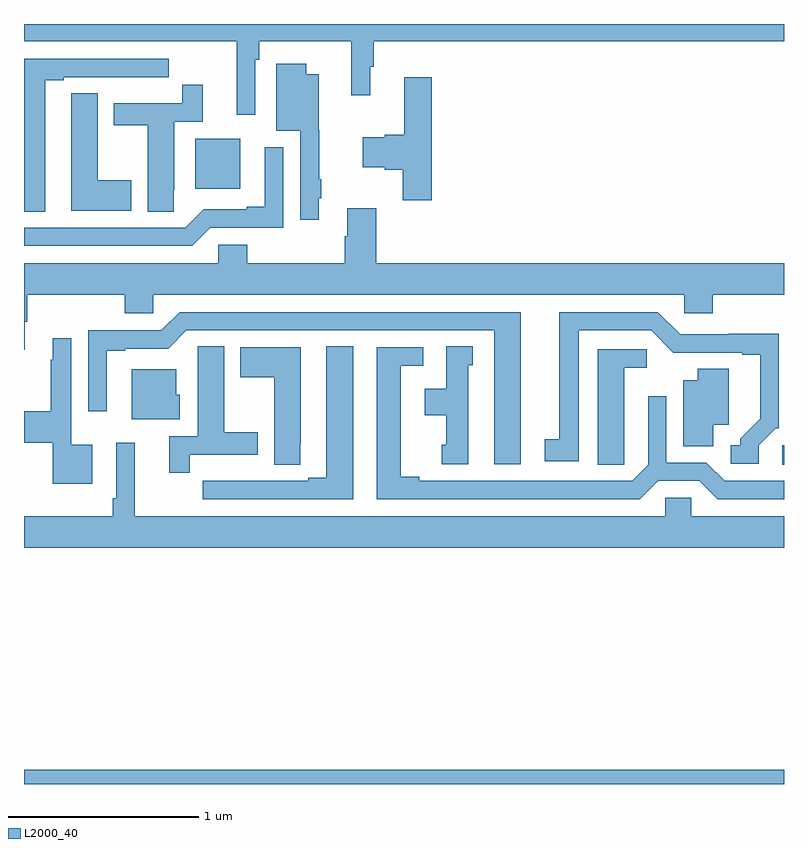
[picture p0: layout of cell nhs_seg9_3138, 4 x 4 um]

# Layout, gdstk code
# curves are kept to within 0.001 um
import gdstk
lib = gdstk.Library(unit=1e-6, precision=1e-09)
def R(c, l, rs):  # rectangles x0, y0, x1, y1
    for r in rs: c.add(gdstk.rectangle(r[:2], r[2:], *l))
def P(c, l, *ps):  # polygons
    for p in ps: c.add(gdstk.Polygon(p, *l))
L2000_40 = (2000, 40)

nhs_seg9_3138 = lib.new_cell('nhs_seg9_3138')
R(nhs_seg9_3138, L2000_40, [(291,1204.5,295,1204.576), (294.99,1206.181,295,1206.282), (291.902,1207.634,292.138,1207.897)])
P(nhs_seg9_3138, L2000_40, [(292.218,1208.312),(292.238,1208.312),(292.238,1208.408),(292.723,1208.408),(292.723,1208.124),(292.822,1208.124),(292.822,1208.274),(292.841,1208.274),(292.841,1208.408),(295,1208.408),(295,1208.5),(291,1208.5),(291,1208.408),(292.121,1208.408),(292.121,1208.022),(292.218,1208.022)],
  [(291.112,1208.205),(291.208,1208.205),(291.208,1208.22),(291.484,1208.22),(291.484,1208.219),(291.65,1208.219),(291.65,1208.22),(291.763,1208.22),(291.763,1208.316),(291,1208.316),(291,1207.513),(291.112,1207.513)],
  [(292.552,1207.582),(292.564,1207.582),(292.564,1207.682),(292.554,1207.682),(292.554,1207.941),(292.552,1207.941),(292.552,1208.236),(292.486,1208.236),(292.486,1208.29),(292.328,1208.29),(292.328,1207.937),(292.455,1207.937),(292.455,1207.47),(292.552,1207.47)],
  [(293.147,1208.221),(293,1208.221),(293,1207.916),(292.899,1207.916),(292.899,1207.903),(292.782,1207.903),(292.782,1207.745),(292.899,1207.745),(292.899,1207.733),(292.993,1207.733),(292.993,1207.572),(293.147,1207.572)],
  [(291.789,1207.624),(291.79,1207.624),(291.79,1207.986),(291.941,1207.986),(291.941,1208.179),(291.832,1208.179),(291.832,1208.082),(291.473,1208.082),(291.473,1207.966),(291.65,1207.966),(291.65,1207.513),(291.789,1207.513)],
  [(291.565,1207.677),(291.388,1207.677),(291.388,1208.135),(291.249,1208.135),(291.249,1208.027),(291.248,1208.027),(291.248,1207.517),(291.565,1207.517)],
  [(291.981,1207.428),(292.365,1207.428),(292.365,1207.852),(292.268,1207.852),(292.268,1207.537),(292.172,1207.537),(292.172,1207.524),(291.945,1207.524),(291.849,1207.428),(291,1207.428),(291,1207.332),(291.885,1207.332)],
  [(291,1206.786),(291.004,1206.786),(291.004,1206.934),(291.017,1206.934),(291.017,1207.076),(291.53,1207.076),(291.53,1206.978),(291.681,1206.978),(291.681,1207.076),(294.474,1207.076),(294.474,1206.978),(294.626,1206.978),(294.626,1207.076),(295,1207.076),(295,1207.24),(292.853,1207.24),(292.853,1207.531),(292.7,1207.531),(292.7,1207.382),(292.688,1207.382),(292.688,1207.24),(292.175,1207.24),(292.175,1207.338),(292.023,1207.338),(292.023,1207.24),(291,1207.24)],
  [(293.614,1206.984),(291.819,1206.984),(291.723,1206.888),(291.339,1206.888),(291.339,1206.462),(291.436,1206.462),(291.436,1206.78),(291.532,1206.78),(291.532,1206.792),(291.759,1206.792),(291.855,1206.888),(293.474,1206.888),(293.474,1206.183),(293.614,1206.183)],
  [(294.867,1206.282),(294.957,1206.372),(294.972,1206.372),(294.972,1206.869),(294.709,1206.869),(294.709,1206.867),(294.453,1206.867),(294.336,1206.984),(293.816,1206.984),(293.816,1206.314),(293.742,1206.314),(293.742,1206.198),(293.92,1206.198),(293.92,1206.888),(294.3,1206.888),(294.418,1206.77),(294.779,1206.771),(294.779,1206.759),(294.875,1206.759),(294.875,1206.422),(294.77,1206.317),(294.77,1206.282),(294.72,1206.282),(294.72,1206.186),(294.867,1206.186)],
  [(291.358,1206.286),(291.249,1206.286),(291.249,1206.847),(291.152,1206.847),(291.152,1206.734),(291.141,1206.734),(291.141,1206.462),(291,1206.462),(291,1206.296),(291.152,1206.296),(291.152,1206.08),(291.358,1206.08)],
  [(293.338,1206.705),(293.362,1206.705),(293.362,1206.803),(293.222,1206.803),(293.222,1206.58),(293.108,1206.58),(293.108,1206.44),(293.222,1206.44),(293.222,1206.285),(293.198,1206.285),(293.198,1206.183),(293.338,1206.183)],
  [(292.732,1206.803),(292.592,1206.803),(292.592,1206.111),(292.496,1206.111),(292.496,1206.096),(292.22,1206.096),(292.22,1206.097),(292.054,1206.097),(292.054,1206.096),(291.942,1206.096),(291.942,1206),(292.732,1206)],
  [(291.872,1206.234),(292.231,1206.234),(292.231,1206.351),(292.054,1206.351),(292.054,1206.803),(291.915,1206.803),(291.915,1206.692),(291.914,1206.692),(291.914,1206.33),(291.764,1206.33),(291.764,1206.138),(291.872,1206.138)],
  [(292.455,1206.289),(292.456,1206.289),(292.456,1206.799),(292.139,1206.799),(292.139,1206.64),(292.316,1206.64),(292.316,1206.181),(292.455,1206.181)],
  [(294.337,1206.096),(294.555,1206.096),(294.651,1206),(295,1206),(295,1206.096),(294.687,1206.096),(294.591,1206.192),(294.381,1206.192),(294.381,1206.541),(294.285,1206.541),(294.285,1206.18),(294.201,1206.096),(293.08,1206.096),(293.08,1206.116),(292.984,1206.116),(292.984,1206.702),(293.101,1206.702),(293.101,1206.798),(292.856,1206.798),(292.856,1206),(294.241,1206)],
  [(294.159,1206.289),(294.16,1206.289),(294.16,1206.692),(294.277,1206.692),(294.277,1206.789),(294.02,1206.789),(294.02,1206.181),(294.159,1206.181)],
  [(294.628,1206.392),(294.709,1206.392),(294.709,1206.686),(294.545,1206.686),(294.545,1206.625),(294.47,1206.625),(294.47,1206.277),(294.628,1206.277)],
  [(291.82,1206.549),(291.802,1206.549),(291.802,1206.682),(291.566,1206.682),(291.566,1206.419),(291.82,1206.419)],
  [(295,1205.908),(294.513,1205.908),(294.513,1206.006),(294.375,1206.006),(294.375,1205.908),(291.584,1205.908),(291.584,1206.295),(291.486,1206.295),(291.486,1206.004),(291.466,1206.004),(291.466,1205.908),(291,1205.908),(291,1205.744),(295,1205.744)])

lib.write_gds('nhs_seg9_3138.gds')
